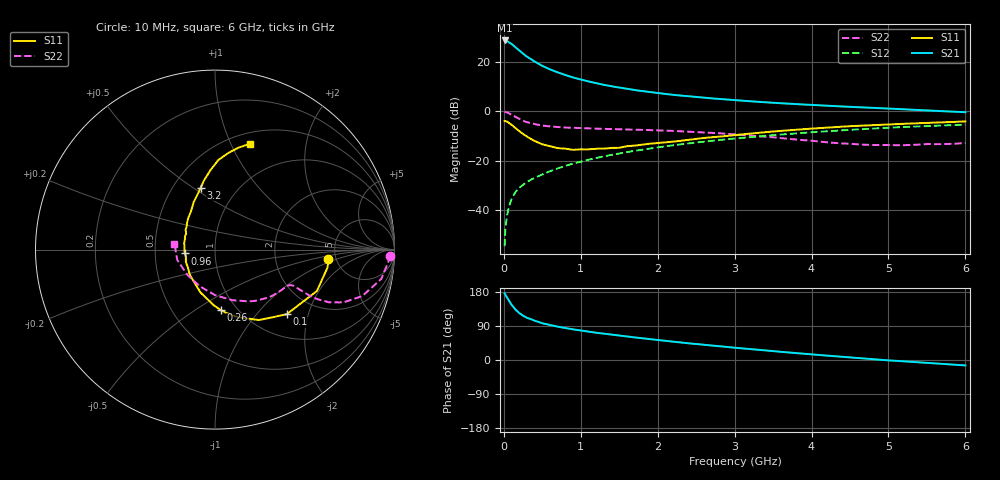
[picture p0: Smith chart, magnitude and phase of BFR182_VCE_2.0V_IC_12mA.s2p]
! Infineon Technologies  Discrete & RF Semiconductors
! BFR182
! VCE =  2.0 V,  IC =  12 mA
! Common Emitter S-Parameters:  Nov 2015
# GHz  S  MA  R  50
!  f  S11  S21  S12  S22
! GHz  MAG  ANG  MAG  ANG  MAG  ANG  MAG  ANG
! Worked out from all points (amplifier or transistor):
!   210 points, 10 MHz to 6 GHz, reference 50 ohm
!   highest |S21| = 28.6 dB at 10 MHz (marker M1)
!   |S21| within 3 dB of that: start of sweep to 160.7 MHz
!   unconditionally stable (mu >= 1): 676.2 MHz to 2.599 GHz
!   at 185 MHz: K = 0.57, MSG = 28.2 dB, |S12| = -31.4 dB
!   at 1.52 GHz: K = 1.05, MAG = 11.7 dB, |S12| = -16.9 dB
!   at 6 GHz: K = 0.89, MSG = 2.5 dB, |S12| = -5.4 dB
!   S11 on the Smith chart (normalised r, x): 10 MHz: 4.33, -0.77; 100 MHz: 1.45, -1.47; 260 MHz: 0.84, -0.64; 960 MHz: 0.71, -0.03; 3.2 GHz: 0.68, +0.54; 6 GHz: 0.62, +1.19
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0.01  0.6343 -4.8  26.82 176.1  0.0019 88.4  0.9755 -2.0
0.02  0.635 -9.0  26.44 172.1  0.0041 85.0  0.9676 -4.2
0.05  0.6129 -22.1  25.65 161.5  0.0092 81.2  0.9409 -10.0
0.1  0.538 -42.0  22.89 145.8  0.0168 74.6  0.8594 -17.6
0.15  0.4632 -57.9  19.61 133.0  0.0234 68.8  0.7722 -22.4
0.2  0.3978 -71.4  16.88 123.9  0.0285 67.3  0.7008 -24.8
0.24  0.3566 -80.3  14.98 118.3  0.032 66.6  0.6551 -25.5
0.26  0.3394 -84.4  14.15 115.8  0.0338 66.6  0.6355 -25.8
0.3  0.3089 -91.6  12.66 111.4  0.0374 67.0  0.6028 -26.1
0.4  0.2523 -108.7  10.06 103.6  0.0454 67.4  0.5498 -25.6
0.5  0.2162 -122.5  8.227 96.9  0.0529 68.7  0.5155 -25.2
0.6  0.1984 -135.0  7 92.2  0.0617 69.1  0.494 -24.8
0.7  0.1807 -146.7  6.086 88.0  0.0704 69.6  0.4802 -24.8
0.96  0.1686 -172.7  4.534 79.0  0.093 69.6  0.4592 -25.6
1.02  0.1706 -178.6  4.29 77.2  0.0982 69.5  0.4554 -26.0
1.4  0.183 156.0  3.187 67.0  0.1319 68.0  0.4383 -29.8
2.02  0.231 130.1  2.311 52.4  0.1891 63.6  0.4114 -38.3
3.1  0.3421 104.6  1.633 30.7  0.2912 53.2  0.3332 -59.5
3.2  0.354 103.0  1.593 29.0  0.3007 52.1  0.3235 -62.1
4.1  0.4574 91.8  1.317 13.1  0.386 41.9  0.245 -93.6
5.1  0.5513 81.0  1.115 -2.2  0.4735 29.4  0.207 -143.6
6  0.6233 71.5  0.958 -14.3  0.5345 16.9  0.2284 171.5
